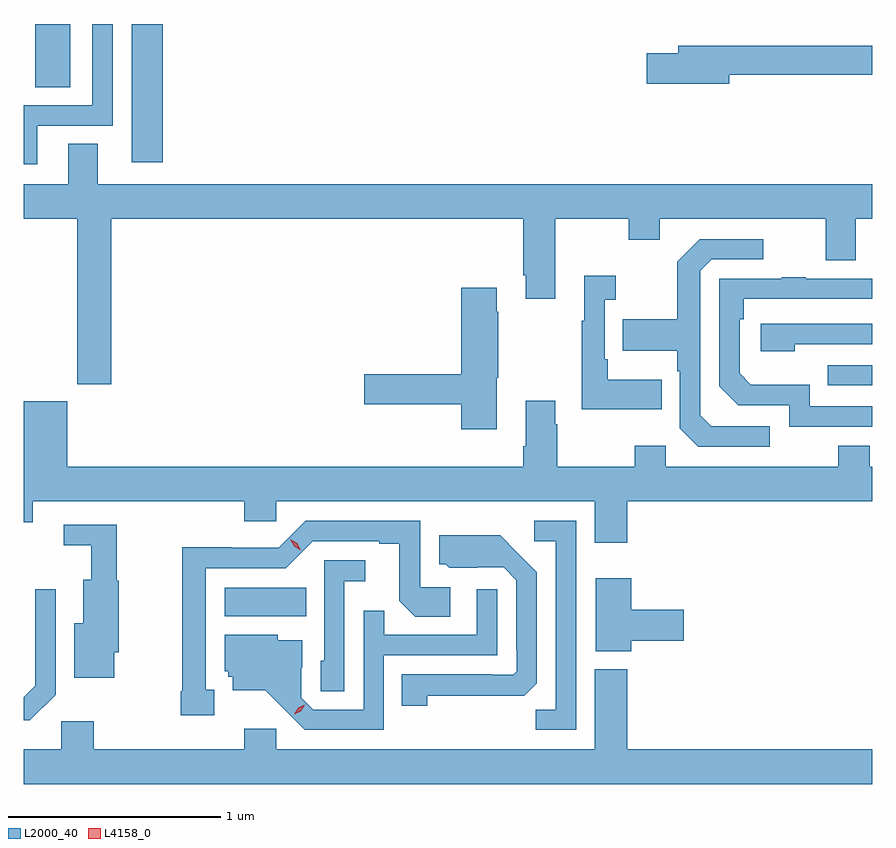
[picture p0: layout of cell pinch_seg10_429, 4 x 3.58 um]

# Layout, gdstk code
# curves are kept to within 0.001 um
import gdstk
lib = gdstk.Library(unit=1e-6, precision=1e-09)
def R(c, l, rs):  # rectangles x0, y0, x1, y1
    for r in rs: c.add(gdstk.rectangle(r[:2], r[2:], *l))
def P(c, l, *ps):  # polygons
    for p in ps: c.add(gdstk.Polygon(p, *l))
L2000_40 = (2000, 40)
L4158_0 = (4158, 0)

pinch_seg10_429 = lib.new_cell('pinch_seg10_429')
R(pinch_seg10_429, L2000_40, [(346.94,1306.436,347.324,1306.57), (349.783,1307.523,349.993,1307.619), (346.502,1308.576,346.649,1309.227), (346.046,1308.928,346.213,1309.227)])
P(pinch_seg10_429, L2000_40, [(346.057,1308.747),(346.413,1308.747),(346.413,1309.227),(346.317,1309.227),(346.317,1308.843),(345.993,1308.843),(345.993,1308.566),(346.057,1308.566)],
  [(349.318,1308.988),(349.993,1308.988),(349.993,1309.124),(349.079,1309.124),(349.079,1309.088),(348.93,1309.088),(348.93,1308.946),(349.318,1308.946)],
  [(346.406,1308.308),(348.347,1308.308),(348.347,1308.043),(348.359,1308.043),(348.359,1307.931),(348.499,1307.931),(348.499,1308.308),(348.844,1308.308),(348.844,1308.209),(348.991,1308.209),(348.991,1308.308),(349.775,1308.308),(349.775,1308.114),(349.915,1308.114),(349.915,1308.308),(349.993,1308.308),(349.993,1308.472),(346.342,1308.472),(346.342,1308.662),(346.202,1308.662),(346.202,1308.472),(345.993,1308.472),(345.993,1308.308),(346.246,1308.308),(346.246,1307.529),(346.406,1307.529)],
  [(349.51,1307.331),(349.233,1307.331),(349.182,1307.382),(349.182,1308.063),(349.236,1308.117),(349.48,1308.117),(349.48,1308.213),(349.179,1308.213),(349.074,1308.107),(349.074,1307.835),(348.817,1307.835),(348.817,1307.687),(349.074,1307.687),(349.074,1307.591),(349.086,1307.591),(349.086,1307.322),(349.173,1307.235),(349.51,1307.235)],
  [(349.001,1307.551),(348.745,1307.551),(348.745,1307.647),(348.732,1307.647),(348.732,1307.927),(348.784,1307.927),(348.784,1308.04),(348.635,1308.04),(348.635,1307.827),(348.624,1307.827),(348.624,1307.411),(349.001,1307.411)],
  [(349.993,1307.424),(349.698,1307.424),(349.698,1307.527),(349.421,1307.527),(349.368,1307.58),(349.368,1307.834),(349.388,1307.834),(349.388,1307.931),(349.993,1307.931),(349.993,1308.027),(349.679,1308.027),(349.679,1308.032),(349.567,1308.032),(349.567,1308.027),(349.272,1308.027),(349.272,1307.52),(349.362,1307.43),(349.602,1307.43),(349.602,1307.328),(349.993,1307.328)],
  [(348.223,1307.559),(348.231,1307.559),(348.231,1307.87),(348.223,1307.87),(348.223,1307.983),(348.056,1307.983),(348.056,1307.576),(347.598,1307.576),(347.598,1307.434),(348.056,1307.434),(348.056,1307.316),(348.223,1307.316)],
  [(349.628,1307.718),(349.993,1307.718),(349.993,1307.814),(349.467,1307.814),(349.467,1307.684),(349.628,1307.684)],
  [(349.993,1307.14),(349.981,1307.14),(349.981,1307.239),(349.834,1307.239),(349.834,1307.14),(349.02,1307.14),(349.02,1307.239),(348.874,1307.239),(348.874,1307.14),(348.507,1307.14),(348.507,1307.339),(348.499,1307.339),(348.499,1307.452),(348.359,1307.452),(348.359,1307.236),(348.347,1307.236),(348.347,1307.14),(346.198,1307.14),(346.198,1307.449),(345.993,1307.449),(345.993,1306.878),(346.036,1306.878),(346.036,1306.976),(347.033,1306.976),(347.033,1306.883),(347.184,1306.883),(347.184,1306.976),(348.686,1306.976),(348.686,1306.782),(348.839,1306.782),(348.839,1306.976),(349.993,1306.976)],
  [(346.891,1306.089),(346.852,1306.089),(346.852,1306.662),(347.229,1306.662),(347.355,1306.788),(347.669,1306.788),(347.669,1306.776),(347.763,1306.776),(347.763,1306.508),(347.839,1306.432),(348.004,1306.432),(348.004,1306.572),(347.862,1306.572),(347.862,1306.884),(347.322,1306.884),(347.196,1306.758),(346.974,1306.758),(346.974,1306.76),(346.741,1306.76),(346.741,1306.081),(346.734,1306.081),(346.734,1305.969),(346.891,1305.969)],
  [(348.597,1306.884),(348.399,1306.884),(348.399,1306.788),(348.501,1306.788),(348.501,1305.995),(348.406,1305.995),(348.406,1305.9),(348.597,1305.9)],
  [(346.42,1306.266),(346.44,1306.266),(346.44,1306.602),(346.432,1306.602),(346.432,1306.866),(346.182,1306.866),(346.182,1306.769),(346.311,1306.769),(346.311,1306.606),(346.274,1306.606),(346.274,1306.402),(346.232,1306.402),(346.232,1306.145),(346.42,1306.145)],
  [(347.895,1306.06),(348.352,1306.061),(348.411,1306.12),(348.411,1306.642),(348.239,1306.816),(347.951,1306.816),(347.951,1306.68),(347.982,1306.68),(347.998,1306.664),(348.255,1306.665),(348.315,1306.605),(348.315,1306.276),(348.318,1306.276),(348.318,1306.176),(348.3,1306.158),(348.2,1306.158),(348.2,1306.161),(347.776,1306.161),(347.776,1306.014),(347.895,1306.014)],
  [(347.505,1306.601),(347.602,1306.601),(347.602,1306.698),(347.409,1306.698),(347.409,1306.224),(347.394,1306.224),(347.394,1306.081),(347.505,1306.081)],
  [(348.856,1306.319),(349.105,1306.319),(349.105,1306.466),(348.856,1306.466),(348.856,1306.615),(348.689,1306.615),(348.689,1306.271),(348.856,1306.271)],
  [(347.691,1306.251),(348.225,1306.251),(348.225,1306.561),(348.129,1306.561),(348.129,1306.347),(347.693,1306.347),(347.693,1306.46),(347.595,1306.46),(347.595,1305.993),(347.358,1305.993),(347.301,1306.05),(347.301,1306.192),(347.305,1306.192),(347.305,1306.321),(347.19,1306.321),(347.19,1306.348),(346.94,1306.348),(346.94,1306.176),(346.956,1306.176),(346.956,1306.149),(346.979,1306.149),(346.979,1306.085),(347.131,1306.085),(347.318,1305.9),(347.691,1305.9)],
  [(346.143,1306.065),(346.143,1306.561),(346.047,1306.561),(346.047,1306.107),(345.993,1306.053),(345.993,1305.944),(346.022,1305.944)],
  [(349.993,1305.808),(348.839,1305.808),(348.839,1306.186),(348.686,1306.186),(348.686,1305.808),(347.184,1305.808),(347.184,1305.904),(347.033,1305.904),(347.033,1305.808),(346.322,1305.808),(346.322,1305.94),(346.17,1305.94),(346.17,1305.808),(345.993,1305.808),(345.993,1305.644),(349.993,1305.644)])
P(pinch_seg10_429, L4158_0, [(347.268,1305.974),(347.268,1305.974),(347.286,1306.003),(347.317,1306.017),(347.317,1306.017),(347.317,1306.017),(347.299,1305.988),(347.268,1305.974)],
  [(347.299,1306.746),(347.267,1306.765),(347.25,1306.797),(347.25,1306.797),(347.25,1306.797),(347.282,1306.778),(347.299,1306.746),(347.299,1306.746)])

lib.write_gds('pinch_seg10_429.gds')
